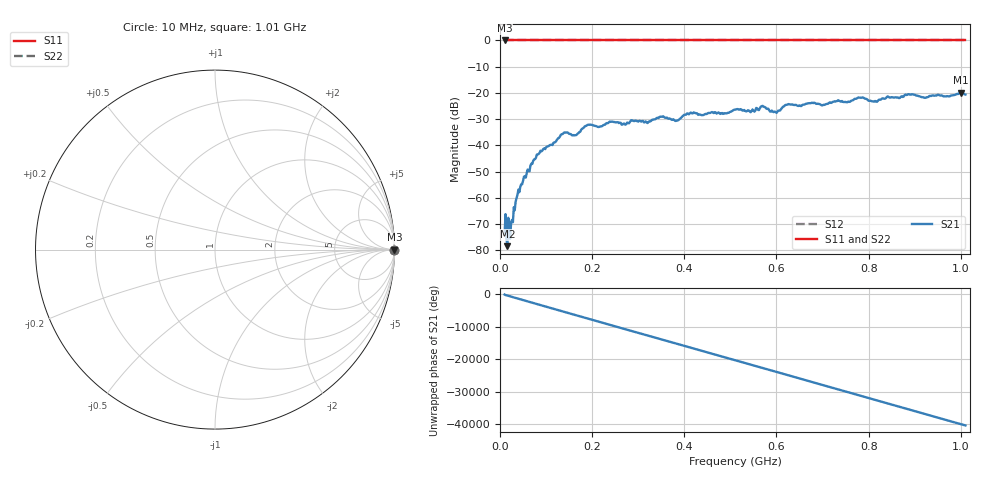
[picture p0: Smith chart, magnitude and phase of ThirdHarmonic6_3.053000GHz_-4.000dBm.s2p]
! 8/17/2025 8:52:24 AM
! C:\ANRITSUVNA\TEMP\TEMP.S2P
! CHANNEL.1
! TR.MEASUREMENT
! RAW.DATA
! RF.CORRECTION.OFF
! AVERAGING.OFF
! IF.BANDWIDTH: 5KHZ
! SWEEPTYPE:  FREQ.SWEEP(Linear)
! Reference Plane Port Info
! PORT:  PORT1  PORT2
! DISTANCE:  0  m  0  m
! TIME:  0  s  0  s
! PHASE.OFFSET:  0  deg.  0  deg.
! LOSS:  0  dB  0  dB
! REF.LOSS:  0  dB  0  dB
! REF.FREQ:  0  Hz  0  Hz
! Power Info
! POWER:  -20  dBm  -20  dBm
! EFF.POWER:  -20  dBm  -20  dBm
! SOURCE.ATTEN:  0  dB  0  dB
! TEST.ATTEN:  0  dB  0  dB
# GHZ S RI R 50.0
! FREQ.GHZ  S11RE  S11IM  S21RE  S21IM  S12RE  S12IM  S22RE  S22IM
!; PortSelection: Port_12
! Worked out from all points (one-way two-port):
!   501 points, 10 MHz to 1.01 GHz, reference 50 ohm
!   highest |S21| = -19.87 dB at 1 GHz (marker M1); lowest = -78.4 dB at 16 MHz (marker M2)
!   lowest |S11| = 0.0 dB at 10 MHz (marker M3)
!   |S11| at or under -10 dB: nowhere
!   |S22| runs from 0.0 to 0.0 dB; largest |S21 - S12| = 1.1
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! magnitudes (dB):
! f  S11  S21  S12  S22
! 10 MHz  0.0  -74.0  0.0  0.0
! 12 MHz  0.0  -66.2  0.0  0.0
! 16 MHz  0.0  -78.4  0.0  0.0
! 18 MHz  0.0  -67.6  0.0  0.0
! 24 MHz  0.0  -69.7  0.0  0.0
! 38 MHz  0.0  -58.8  0.0  0.0
! 48 MHz  0.0  -54.8  0.0  0.0
! 84 MHz  0.0  -43.3  0.0  0.0
! 136 MHz  0.0  -35.7  0.0  0.0
! 162 MHz  0.0  -36.2  0.0  0.0
! 178 MHz  0.0  -33.7  0.0  0.0
! 344 MHz  0.0  -29.6  0.0  0.0
! 384 MHz  0.0  -30.5  0.0  0.0
! 410 MHz  0.0  -28.1  0.0  0.0
! 510 MHz  0.0  -26.3  0.0  0.0
! 570 MHz  0.0  -24.9  0.0  0.0
! 598 MHz  0.0  -27.3  0.0  0.0
! 624 MHz  0.0  -24.4  0.0  0.0
! 678 MHz  0.0  -23.7  0.0  0.0
! 844 MHz  0.0  -21.6  0.0  0.0
! 1 GHz  0.0  -19.9  0.0  0.0
! 1.01 GHz  0.0  -20.6  0.0  0.0
